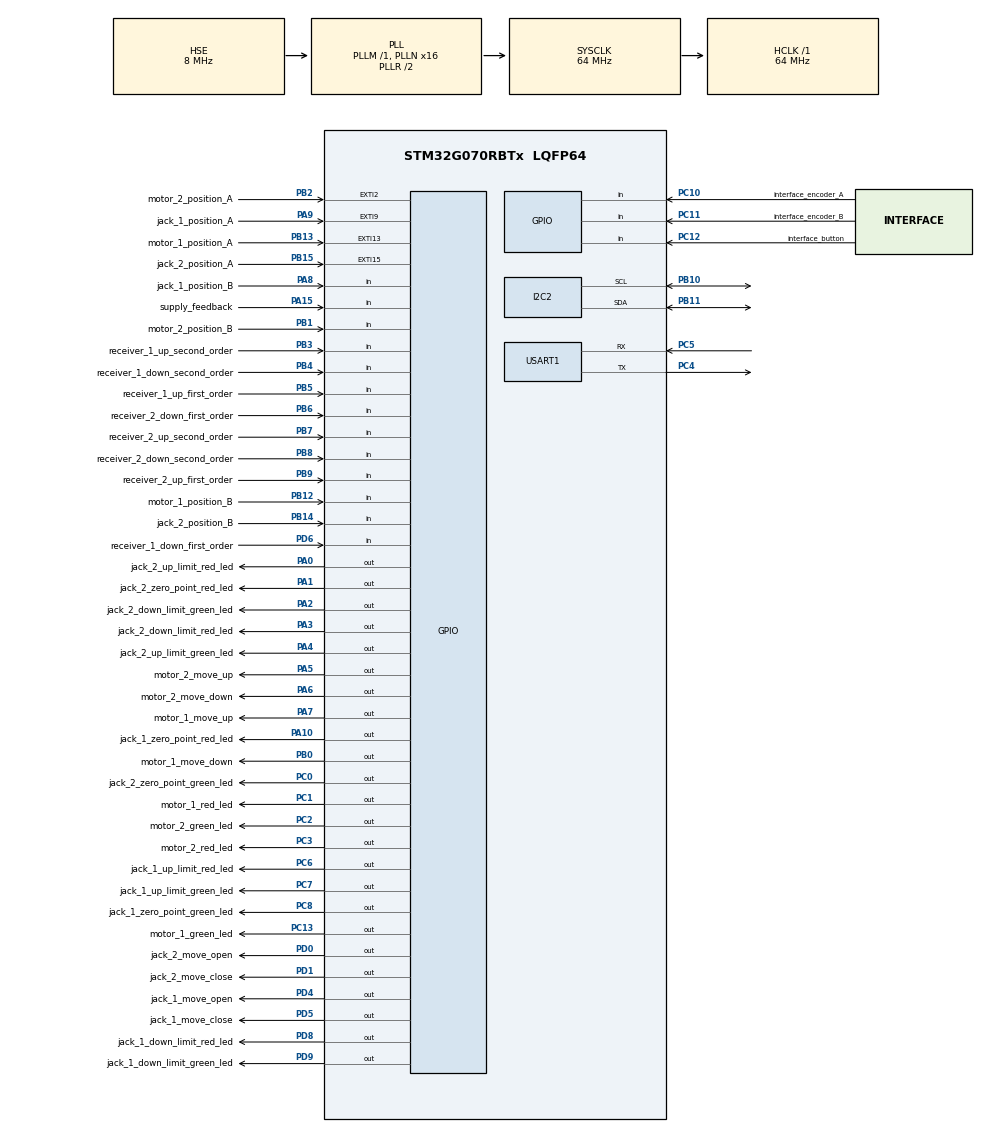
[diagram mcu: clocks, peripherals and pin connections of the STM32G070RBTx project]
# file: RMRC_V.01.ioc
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Dma.Request0=USART1_TX
Dma.USART1_TX.0.Direction=DMA_MEMORY_TO_PERIPH
Dma.USART1_TX.0.EventEnable=DISABLE
Dma.USART1_TX.0.Instance=DMA1_Channel1
Dma.USART1_TX.0.MemDataAlignment=DMA_MDATAALIGN_BYTE
Dma.USART1_TX.0.MemInc=DMA_MINC_ENABLE
Dma.USART1_TX.0.Mode=DMA_NORMAL
Dma.USART1_TX.0.PeriphDataAlignment=DMA_PDATAALIGN_BYTE
Dma.USART1_TX.0.PeriphInc=DMA_PINC_DISABLE
Dma.USART1_TX.0.Polarity=HAL_DMAMUX_REQ_GEN_RISING
Dma.USART1_TX.0.Priority=DMA_PRIORITY_HIGH
Dma.USART1_TX.0.RequestNumber=1
Dma.USART1_TX.0.SignalID=NONE
Dma.USART1_TX.0.SyncEnable=DISABLE
Dma.USART1_TX.0.SyncPolarity=HAL_DMAMUX_SYNC_NO_EVENT
Dma.USART1_TX.0.SyncRequestNumber=1
Dma.USART1_TX.0.SyncSignalID=NONE
I2C2.I2C_Fall_Time=300
I2C2.I2C_Rise_Time=1000
I2C2.Timing=0x80821B20
Mcu.Family=STM32G0
Mcu.Name=STM32G070RBTx
Mcu.Package=LQFP64
NVIC.DMA1_Channel1_IRQn=true\:0\:0\:false\:false\:true\:false\:true\:true
NVIC.EXTI2_3_IRQn=true\:0\:0\:false\:false\:true\:true\:true\:true
NVIC.EXTI4_15_IRQn=true\:0\:0\:false\:false\:true\:true\:true\:true
NVIC.I2C2_IRQn=true\:0\:0\:false\:false\:true\:true\:true\:true
NVIC.RCC_IRQn=true\:0\:0\:false\:false\:true\:true\:false\:true
NVIC.TIM1_BRK_UP_TRG_COM_IRQn=true\:0\:0\:false\:false\:true\:true\:true\:true
PA0.GPIO_Label=jack_2_up_limit_red_led
PA0.Signal=GPIO_Output
PA1.GPIO_Label=jack_2_zero_point_red_led
PA1.Signal=GPIO_Output
PA10.GPIO_Label=jack_1_zero_point_red_led
PA10.Signal=GPIO_Output
PA13.Mode=Serial_Wire
PA13.Signal=SYS_SWDIO
PA14-BOOT0.Mode=Serial_Wire
PA14-BOOT0.Signal=SYS_SWCLK
PA15.GPIO_Label=supply_feedback
PA15.Signal=GPIO_Input
PA2.GPIO_Label=jack_2_down_limit_green_led
PA2.Signal=GPIO_Output
PA3.GPIO_Label=jack_2_down_limit_red_led
PA3.Signal=GPIO_Output
PA4.GPIO_Label=jack_2_up_limit_green_led
PA4.Signal=GPIO_Output
PA5.GPIO_Label=motor_2_move_up
PA5.Signal=GPIO_Output
PA6.GPIO_Label=motor_2_move_down
PA6.Signal=GPIO_Output
PA7.GPIO_Label=motor_1_move_up
PA7.Signal=GPIO_Output
PA8.GPIO_Label=jack_1_position_B
PA8.Signal=GPIO_Input
PA9.GPIO_Label=jack_1_position_A
PA9.Signal=GPXTI9
PB0.GPIO_Label=motor_1_move_down
PB0.Signal=GPIO_Output
PB1.GPIO_Label=motor_2_position_B
PB1.Signal=GPIO_Input
PB10.GPIO_Pu=GPIO_PULLUP
PB10.GPIO_Speed=GPIO_SPEED_FREQ_MEDIUM
PB10.Mode=I2C
PB10.Signal=I2C2_SCL
PB11.GPIO_Pu=GPIO_PULLUP
PB11.GPIO_Speed=GPIO_SPEED_FREQ_MEDIUM
PB11.Mode=I2C
PB11.Signal=I2C2_SDA
PB12.GPIO_Label=motor_1_position_B
PB12.Signal=GPIO_Input
PB13.GPIO_Label=motor_1_position_A
PB13.Signal=GPXTI13
PB14.GPIO_Label=jack_2_position_B
PB14.Signal=GPIO_Input
PB15.GPIO_Label=jack_2_position_A
PB15.Signal=GPXTI15
PB2.GPIO_Label=motor_2_position_A
PB2.Signal=GPXTI2
PB3.GPIO_Label=receiver_1_up_second_order
PB3.Signal=GPIO_Input
PB4.GPIO_Label=receiver_1_down_second_order
PB4.Signal=GPIO_Input
PB5.GPIO_Label=receiver_1_up_first_order
PB5.Signal=GPIO_Input
PB6.GPIO_Label=receiver_2_down_first_order
PB6.Signal=GPIO_Input
PB7.GPIO_Label=receiver_2_up_second_order
PB7.Signal=GPIO_Input
PB8.GPIO_Label=receiver_2_down_second_order
PB8.Signal=GPIO_Input
PB9.GPIO_Label=receiver_2_up_first_order
PB9.Signal=GPIO_Input
PC0.GPIO_Label=jack_2_zero_point_green_led
PC0.Signal=GPIO_Output
PC1.GPIO_Label=motor_1_red_led
PC1.Signal=GPIO_Output
PC10.GPIO_Label=interface_encoder_A
PC10.Signal=GPIO_Input
PC11.GPIO_Label=interface_encoder_B
PC11.Signal=GPIO_Input
PC12.GPIO_Label=interface_button
PC12.Signal=GPIO_Input
PC13.GPIO_Label=motor_1_green_led
PC13.Signal=GPIO_Output
PC2.GPIO_Label=motor_2_green_led
PC2.Signal=GPIO_Output
PC3.GPIO_Label=motor_2_red_led
PC3.Signal=GPIO_Output
PC4.Mode=Asynchronous
PC4.Signal=USART1_TX
PC5.Mode=Asynchronous
PC5.Signal=USART1_RX
PC6.GPIO_Label=jack_1_up_limit_red_led
PC6.Signal=GPIO_Output
PC7.GPIO_Label=jack_1_up_limit_green_led
PC7.Signal=GPIO_Output
PC8.GPIO_Label=jack_1_zero_point_green_led
PC8.Signal=GPIO_Output
PD0.GPIO_Label=jack_2_move_open
PD0.Signal=GPIO_Output
PD1.GPIO_Label=jack_2_move_close
PD1.Signal=GPIO_Output
PD4.GPIO_Label=jack_1_move_open
PD4.Signal=GPIO_Output
PD5.GPIO_Label=jack_1_move_close
PD5.Signal=GPIO_Output
PD6.GPIO_Label=receiver_1_down_first_order
PD6.Signal=GPIO_Input
PD8.GPIO_Label=jack_1_down_limit_red_led
PD8.Signal=GPIO_Output
PD9.GPIO_Label=jack_1_down_limit_green_led
PD9.Signal=GPIO_Output
PF0-OSC_IN\ (PF0).Mode=HSE-External-Oscillator
PF0-OSC_IN\ (PF0).Signal=RCC_OSC_IN
PF1-OSC_OUT\ (PF1).Mode=HSE-External-Oscillator
PF1-OSC_OUT\ (PF1).Signal=RCC_OSC_OUT
ProjectManager.HeapSize=0x400
ProjectManager.StackSize=0x600
ProjectManager.TargetToolchain=MDK-ARM V5
RCC.ADCFreq_Value=64000000
RCC.AHBFreq_Value=64000000
RCC.CortexFreq_Value=64000000
RCC.EXTERNAL_CLOCK_VALUE=48000
RCC.HCLKFreq_Value=64000000
RCC.HSE_VALUE=8000000
RCC.HSI_VALUE=16000000
RCC.LSE_VALUE=32768
RCC.PLLN=16
RCC.PLLP=RCC_PLLP_DIV4
RCC.PLLSourceVirtual=RCC_PLLSOURCE_HSE
RCC.SYSCLKFreq_VALUE=64000000
RCC.SYSCLKSource=RCC_SYSCLKSOURCE_PLLCLK
RCC.VCOOutputFreq_Value=128000000
TIM1.AutoReloadPreload=TIM_AUTORELOAD_PRELOAD_ENABLE
TIM1.Period=99
TIM1.Prescaler=63999
USART1.VirtualMode-Asynchronous=VM_ASYNC
VP_TIM1_VS_ClockSourceINT.Mode=Internal
board=custom

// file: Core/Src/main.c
/* USER CODE BEGIN Header */
/**
  ******************************************************************************
  * @file           : main.c
  * @brief          : Main program body
  ******************************************************************************
  * @attention
  *
  * Copyright (c) 2026 STMicroelectronics.
  * All rights reserved.
  *
  * This software is licensed under terms that can be found in the LICENSE file
  * in the root directory of this software component.
  * If no LICENSE file comes with this software, it is provided AS-IS.
  *
  ******************************************************************************
  */
/* USER CODE END Header */
#include "main.h"
#include "dma.h"
#include "i2c.h"
#include "tim.h"
#include "usart.h"
#include "gpio.h"

/* USER CODE BEGIN Includes */

volatile uint32_t hundred_millis = 0;

/* USER CODE END Includes */

void SystemClock_Config(void);

/* USER CODE BEGIN 0 */
void HAL_TIM_PeriodElapsedCallback(TIM_HandleTypeDef *htim){
    if (htim->Instance == TIM1){
        hundred_millis += 1;
				//HAL_GPIO_TogglePin(jack_1_zero_point_green_led_GPIO_Port, jack_1_zero_point_green_led_Pin);
    }
}

void HAL_I2C_MemTxCpltCallback(I2C_HandleTypeDef *hi2c)
{
    AT24_TxComplete();
}

void HAL_I2C_MemRxCpltCallback(I2C_HandleTypeDef *hi2c)
{
    AT24_RxComplete();
}
/* USER CODE END 0 */

int main(void)
{

  /* MCU Configuration--------------------------------------------------------*/

  /* Reset of all peripherals, Initializes the Flash interface and the Systick. */
  HAL_Init();

  /* Configure the system clock */
  SystemClock_Config();

  /* Initialize all configured peripherals */
  MX_GPIO_Init();
  MX_DMA_Init();
  MX_I2C2_Init();
  MX_TIM1_Init();
  MX_USART1_UART_Init();
  /* USER CODE BEGIN 2 */

	HAL_TIM_Base_Start_IT(&htim1);

	interfaceInit();
	AT24Init(&hi2c2);
	jackInit();
	motorInit();
	receiverInit();

	HAL_Delay(100);

	while(AT24_ReadAll_IT() == HAL_BUSY){
		HAL_Delay(100);
	}
	while((AT24_State == 1) || (AT24_State == 3)){
		HAL_Delay(100);
	}
	if(AT24_State == 4){
		/*
			for(uint8_t f = 0; f < 8; f++){
        tx_buf[(f*2)]   = (AT24_Data.vars[f] >> 8) & 0xFF;
        tx_buf[(f*2)+1] =  AT24_Data.vars[f]       & 0xFF;
			}
			HAL_I2C_Mem_Write_IT(&hi2c2,
                                AT24_ADDR,
                                0x00,
                                I2C_MEMADD_SIZE_8BIT,
                                tx_buf,
                                16);

			while(AT24_page_write_counter != 1){HAL_Delay(10);}

			for (uint8_t t = 0; t < 4; t++){
						tx_buf_2[(t*2)]   = (AT24_Data.vars[t+8] >> 8) & 0xFF;
						tx_buf_2[(t*2)+1] =  AT24_Data.vars[t+8]       & 0xFF;
			}
			HAL_I2C_Mem_Write_IT(&hi2c2,
                                AT24_ADDR,
                                0x10,
                                I2C_MEMADD_SIZE_8BIT,
                                tx_buf_2,
                                8);
			*/

			while(AT24_page_write_counter != 1){HAL_Delay(10);}

			if(AT24_page_write_counter > 0){
					for (uint8_t t = 0; t < 4; t++)
					{
						tx_buf_2[(t*2)]   = (AT24_Data.vars[t+8] >> 8) & 0xFF;
						tx_buf_2[(t*2)+1] =  AT24_Data.vars[t+8]       & 0xFF;
					}
					HAL_I2C_Mem_Write_IT(&hi2c2,
                                AT24_ADDR,
                                0x10,
                                I2C_MEMADD_SIZE_8BIT,
                                tx_buf_2,
                                8);
			}

	}

  /* USER CODE END 2 */

  /* Infinite loop */
  /* USER CODE BEGIN WHILE */
  while (1)
  {
		interfaceRun();
		AT24Run();
		jackRun();
		motorRun();
		receiverRun();

    /* USER CODE END WHILE */

  }
}

void SystemClock_Config(void)
{
  RCC_OscInitTypeDef RCC_OscInitStruct = {0};
  RCC_ClkInitTypeDef RCC_ClkInitStruct = {0};

  /** Configure the main internal regulator output voltage
  */
  HAL_PWREx_ControlVoltageScaling(PWR_REGULATOR_VOLTAGE_SCALE1);

  /** Initializes the RCC Oscillators according to the specified parameters
  * in the RCC_OscInitTypeDef structure.
  */
  RCC_OscInitStruct.OscillatorType = RCC_OSCILLATORTYPE_HSE;
  RCC_OscInitStruct.HSEState = RCC_HSE_ON;
  RCC_OscInitStruct.PLL.PLLState = RCC_PLL_ON;
  RCC_OscInitStruct.PLL.PLLSource = RCC_PLLSOURCE_HSE;
  RCC_OscInitStruct.PLL.PLLM = RCC_PLLM_DIV1;
  RCC_OscInitStruct.PLL.PLLN = 16;
  RCC_OscInitStruct.PLL.PLLP = RCC_PLLP_DIV4;
  RCC_OscInitStruct.PLL.PLLR = RCC_PLLR_DIV2;
  if (HAL_RCC_OscConfig(&RCC_OscInitStruct) != HAL_OK)
  {
    Error_Handler();
  }

  /** Initializes the CPU, AHB and APB buses clocks
  */
  RCC_ClkInitStruct.ClockType = RCC_CLOCKTYPE_HCLK|RCC_CLOCKTYPE_SYSCLK
                              |RCC_CLOCKTYPE_PCLK1;
  RCC_ClkInitStruct.SYSCLKSource = RCC_SYSCLKSOURCE_PLLCLK;
  RCC_ClkInitStruct.AHBCLKDivider = RCC_SYSCLK_DIV1;
  RCC_ClkInitStruct.APB1CLKDivider = RCC_HCLK_DIV1;

  if (HAL_RCC_ClockConfig(&RCC_ClkInitStruct, FLASH_LATENCY_2) != HAL_OK)
  {
    Error_Handler();
  }
}

/* USER CODE BEGIN 4 */
void HAL_GPIO_EXTI_Rising_Callback(uint16_t GPIO_Pin)
{

		encoderCallback(GPIO_Pin);
		/*
		switch(GPIO_Pin){
			case jack_1_position_A_Pin:
				encoderCallback(GPIO_Pin);
			break;
			case jack_2_position_A_Pin:
				encoderCallback(GPIO_Pin);
			break;
			case motor_1_position_A_Pin:
				encoderCallback(GPIO_Pin);
			break;
			case motor_2_position_A_Pin:
				encoderCallback(GPIO_Pin);
			break;
			//case interface_encoder_A_Pin:
			//	interfaceCallback(GPIO_Pin);
			//break;interface_button_Pin
			//case GPIO_PIN_12:
			//	interfaceCallback(GPIO_Pin);
			//break;
			default:
			break;
		}
		*/
}
/* USER CODE END 4 */

void Error_Handler(void)
{
  __disable_irq();
  while (1)
  {
  }
}
